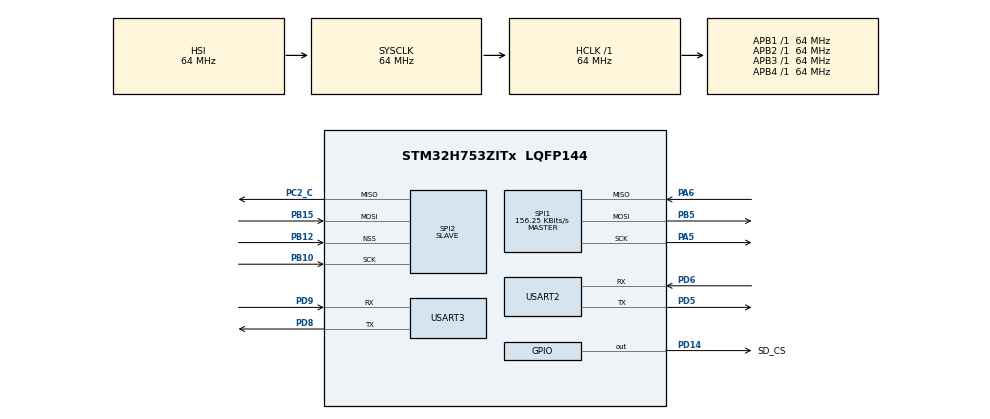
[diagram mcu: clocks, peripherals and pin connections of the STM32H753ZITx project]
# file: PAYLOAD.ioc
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CORTEX_M7.CPU_DCache=Disabled
CORTEX_M7.CPU_ICache=Disabled
CORTEX_M7.MPU_Control=__NULL
Mcu.Family=STM32H7
Mcu.Name=STM32H753ZITx
Mcu.Package=LQFP144
NVIC.PriorityGroup=NVIC_PRIORITYGROUP_4
PA5.Mode=Full_Duplex_Master
PA5.Signal=SPI1_SCK
PA6.Mode=Full_Duplex_Master
PA6.Signal=SPI1_MISO
PB10.Mode=Full_Duplex_Slave
PB10.Signal=SPI2_SCK
PB12.Mode=NSS_Signal_Hard_Input
PB12.Signal=SPI2_NSS
PB15.Mode=Full_Duplex_Slave
PB15.Signal=SPI2_MOSI
PB5.Mode=Full_Duplex_Master
PB5.Signal=SPI1_MOSI
PC2_C.Mode=Full_Duplex_Slave
PC2_C.Signal=SPI2_MISO
PD14.GPIO_Label=SD_CS
PD14.PinState=GPIO_PIN_SET
PD14.Signal=GPIO_Output
PD5.Mode=Asynchronous
PD5.Signal=USART2_TX
PD6.Mode=Asynchronous
PD6.Signal=USART2_RX
PD8.Mode=Asynchronous
PD8.Signal=USART3_TX
PD9.Mode=Asynchronous
PD9.Signal=USART3_RX
ProjectManager.HeapSize=0x200
ProjectManager.StackSize=0x400
ProjectManager.TargetToolchain=STM32CubeIDE
RCC.ADCFreq_Value=129000000
RCC.APB1Freq_Value=64000000
RCC.APB2Freq_Value=64000000
RCC.APB3Freq_Value=64000000
RCC.APB4Freq_Value=64000000
RCC.CortexFreq_Value=64000000
RCC.DIVM1=4
RCC.DIVN1=10
RCC.DIVQ1=4
RCC.HCLKFreq_Value=64000000
RCC.HSE_VALUE=8000000
RCC.PLLFRACN=0
RCC.PWR_Regulator_Voltage_Scale=PWR_REGULATOR_VOLTAGE_SCALE2
RCC.SYSCLKFreq_VALUE=64000000
RCC.USBFreq_Value=40000000
SPI1.BaudRatePrescaler=SPI_BAUDRATEPRESCALER_256
SPI1.CalculateBaudRate=156.25 KBits/s
SPI1.DataSize=SPI_DATASIZE_8BIT
SPI1.Direction=SPI_DIRECTION_2LINES
SPI1.Mode=SPI_MODE_MASTER
SPI1.NSSPMode=SPI_NSS_PULSE_DISABLE
SPI1.VirtualType=VM_MASTER
SPI2.DataSize=SPI_DATASIZE_8BIT
SPI2.Direction=SPI_DIRECTION_2LINES
SPI2.Mode=SPI_MODE_SLAVE
SPI2.NSSPolarity=SPI_NSS_POLARITY_LOW
SPI2.VirtualNSS=VM_NSSHARD
SPI2.VirtualType=VM_SLAVE
USART2.VirtualMode-Asynchronous=VM_ASYNC
USART3.VirtualMode-Asynchronous=VM_ASYNC
VP_FATFS_VS_Generic.Mode=User_defined
board=NUCLEO-H753ZI

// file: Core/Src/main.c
/* USER CODE BEGIN Header */
/**
  ******************************************************************************
  * @file           : main.c
  * @brief          : Main program body
  ******************************************************************************
  * @attention
  *
  * Copyright (c) 2026 STMicroelectronics.
  * All rights reserved.
  *
  * This software is licensed under terms that can be found in the LICENSE file
  * in the root directory of this software component.
  * If no LICENSE file comes with this software, it is provided AS-IS.
  *
  ******************************************************************************
  */
/* USER CODE END Header */
#include "main.h"
#include "fatfs.h"

/* USER CODE BEGIN Includes */
#include "sd_spi.h"
#include <string.h>
#include <stdio.h>
#include "ff.h"

/* USER CODE END Includes */

SPI_HandleTypeDef hspi1;
SPI_HandleTypeDef hspi2;

UART_HandleTypeDef huart2;
UART_HandleTypeDef huart3;

/* USER CODE BEGIN PV */
uint8_t spi_tx;
uint8_t spi_rx;
uint8_t sd_buffer[512];

FATFS image_fs;
FIL image_file;

FRESULT sd_result;
UINT bytes_written;
UINT bytes_read;

char sd_test_data[] = "STM32 SD TEST\r\n";

/* USER CODE END PV */

void SystemClock_Config(void);
static void MX_GPIO_Init(void);
static void MX_SPI1_Init(void);
static void MX_USART3_UART_Init(void);
static void MX_SPI2_Init(void);
static void MX_USART2_UART_Init(void);

/* USER CODE BEGIN 0 */
#define PACKET_SIZE 210

uint8_t spi2_rx_buffer[PACKET_SIZE];
uint16_t crc16_ccitt(const uint8_t *data, uint32_t length)
{
    uint16_t crc = 0xFFFF;

    for (uint32_t i = 0; i < length; i++)
    {
        crc ^= ((uint16_t)data[i] << 8);

        for (uint8_t j = 0; j < 8; j++)
        {
            if (crc & 0x8000)
            {
                crc = (crc << 1) ^ 0x1021;
            }
            else
            {
                crc <<= 1;
            }
        }
    }

    return crc;
}
/* USER CODE END 0 */

int main(void)
{

  /* MCU Configuration--------------------------------------------------------*/

  /* Reset of all peripherals, Initializes the Flash interface and the Systick. */
  HAL_Init();

  /* Configure the system clock */
  SystemClock_Config();

  /* Initialize all configured peripherals */
  MX_GPIO_Init();
  MX_SPI1_Init();
  MX_USART3_UART_Init();
  MX_FATFS_Init();
  MX_SPI2_Init();
  MX_USART2_UART_Init();

  /* Infinite loop */
  while (1)
  {

    /* USER CODE BEGIN 3 */
	    FRESULT fres;
	    UINT bytes_written;

	    uint8_t packet_buffer[PACKET_SIZE];

	    uint8_t transfer_ok = 1;

	    /*
	     * ------------------------------------------------------------
	     * MOUNT FILESYSTEM
	     * ------------------------------------------------------------
	     */

	    fres = f_mount(&USERFatFS, USERPath, 1);

	    if (fres != FR_OK)
	    {
	        char msg[80];

	        int len = sprintf(
	            msg,
	            "FATFS MOUNT ERROR: %d\r\n",
	            fres
	        );

	        HAL_UART_Transmit(
	            &huart3,
	            (uint8_t *)msg,
	            len,
	            HAL_MAX_DELAY
	        );

	        break;
	    }

	    HAL_UART_Transmit(
	        &huart3,
	        (uint8_t *)"FATFS MOUNT OK\r\n",
	        strlen("FATFS MOUNT OK\r\n"),
	        HAL_MAX_DELAY
	    );

	    /*
	     * ------------------------------------------------------------
	     * OPEN image.bin
	     *
	     * The file remains open for the entire transfer.
	     * Each packet payload is appended to the file.
	     * ------------------------------------------------------------
	     */

	    fres = f_open(
	        &USERFile,
	        "image.bin",
	        FA_CREATE_ALWAYS | FA_WRITE
	    );

	    if (fres != FR_OK)
	    {
	        char msg[80];

	        int len = sprintf(
	            msg,
	            "image.bin OPEN ERROR: %d\r\n",
	            fres
	        );

	        HAL_UART_Transmit(
	            &huart3,
	            (uint8_t *)msg,
	            len,
	            HAL_MAX_DELAY
	        );

	        break;
	    }

	    HAL_UART_Transmit(
	        &huart3,
	        (uint8_t *)"image.bin OPEN OK\r\n",
	        strlen("image.bin OPEN OK\r\n"),
	        HAL_MAX_DELAY
	    );

	    /*
	     * ------------------------------------------------------------
	     * TELL RPi TO START IMAGE TRANSFER
	     * ------------------------------------------------------------
	     */

	    uint8_t tx_msg[] = "SEND IMAGE\r\n";

	    HAL_UART_Transmit(
	        &huart2,
	        tx_msg,
	        sizeof(tx_msg) - 1,
	        HAL_MAX_DELAY
	    );

	    HAL_UART_Transmit(
	        &huart3,
	        (uint8_t *)"UART2 TX: SEND IMAGE\r\n",
	        strlen("UART2 TX: SEND IMAGE\r\n"),
	        HAL_MAX_DELAY
	    );

	    /*
	     * ------------------------------------------------------------
	     * RECEIVE PACKETS 0 TO 9
	     * ------------------------------------------------------------
	     */

	    for (uint32_t expected_packet_id = 0;
	         expected_packet_id < 10;
	         expected_packet_id++)
	    {
	        uint8_t ready_msg[] = "SPI READY\r\n";

	        /*
	         * --------------------------------------------------------
	         * TELL RPi THAT STM32 IS READY FOR THIS PACKET
	         * --------------------------------------------------------
	         */

	        HAL_UART_Transmit(
	            &huart2,
	            ready_msg,
	            sizeof(ready_msg) - 1,
	            HAL_MAX_DELAY
	        );

	        /*
	         * IMPORTANT:
	         *
	         * DO NOT PUT DEBUG UART TRANSMISSIONS HERE.
	         *
	         * SPI READY must be followed immediately by
	         * HAL_SPI_Receive().
	         */

	        HAL_StatusTypeDef spi_status;

	        spi_status = HAL_SPI_Receive(
	            &hspi2,
	            packet_buffer,
	            PACKET_SIZE,
	            5000
	        );

	        if (spi_status != HAL_OK)
	        {
	            uint32_t error = HAL_SPI_GetError(&hspi2);

	            char error_msg[100];

	            int len = sprintf(
	                error_msg,
	                "PACKET %lu SPI ERROR: 0x%08lX\r\n",
	                expected_packet_id,
	                error
	            );

	            HAL_UART_Transmit(
	                &huart3,
	                (uint8_t *)error_msg,
	                len,
	                HAL_MAX_DELAY
	            );

	            transfer_ok = 0;

	            break;
	        }

	        /*
	         * --------------------------------------------------------
	         * PARSE PACKET
	         * --------------------------------------------------------
	         */

	        uint16_t sync =
	            ((uint16_t)packet_buffer[0] << 8) |
	            packet_buffer[1];

	        uint32_t packet_id =
	            ((uint32_t)packet_buffer[2] << 24) |
	            ((uint32_t)packet_buffer[3] << 16) |
	            ((uint32_t)packet_buffer[4] << 8) |
	            packet_buffer[5];

	        uint16_t payload_length =
	            ((uint16_t)packet_buffer[6] << 8) |
	            packet_buffer[7];

	        uint16_t received_crc =
	            ((uint16_t)packet_buffer[8] << 8) |
	            packet_buffer[9];

	        /*
	         * --------------------------------------------------------
	         * VALIDATE PAYLOAD LENGTH BEFORE COPYING
	         *
	         * Maximum payload = 200 bytes.
	         * --------------------------------------------------------
	         */

	        if (payload_length > 200)
	        {
	            char error_msg[100];

	            int len = sprintf(
	                error_msg,
	                "PACKET %lu INVALID LENGTH: %u\r\n",
	                expected_packet_id,
	                payload_length
	            );

	            HAL_UART_Transmit(
	                &huart3,
	                (uint8_t *)error_msg,
	                len,
	                HAL_MAX_DELAY
	            );

	            transfer_ok = 0;

	            break;
	        }

	        /*
	         * --------------------------------------------------------
	         * CALCULATE CRC
	         *
	         * CRC covers:
	         *
	         *   SYNC
	         *   PACKET ID
	         *   LENGTH
	         *   PAYLOAD
	         *
	         * CRC field itself is NOT included.
	         * --------------------------------------------------------
	         */

	        uint8_t crc_buffer[208];

	        memcpy(
	            crc_buffer,
	            packet_buffer,
	            8
	        );

	        memcpy(
	            &crc_buffer[8],
	            &packet_buffer[10],
	            payload_length
	        );

	        uint16_t calculated_crc =
	            crc16_ccitt(
	                crc_buffer,
	                8 + payload_length
	            );

	        /*
	         * --------------------------------------------------------
	         * PRINT PACKET INFORMATION
	         * --------------------------------------------------------
	         */

	        char msg[200];

	        snprintf(
	            msg,
	            sizeof(msg),
	            "\r\nPACKET ID: %lu\r\n"
	            "EXPECTED ID: %lu\r\n"
	            "SYNC: 0x%04X\r\n"
	            "PAYLOAD LENGTH: %u\r\n"
	            "RECEIVED CRC: 0x%04X\r\n"
	            "CALCULATED CRC: 0x%04X\r\n",
	            packet_id,
	            expected_packet_id,
	            sync,
	            payload_length,
	            received_crc,
	            calculated_crc
	        );

	        HAL_UART_Transmit(
	            &huart3,
	            (uint8_t *)msg,
	            strlen(msg),
	            HAL_MAX_DELAY
	        );

	        /*
	         * --------------------------------------------------------
	         * VALIDATE PACKET
	         * --------------------------------------------------------
	         */

	        if (sync != 0xAA55 ||
	            packet_id != expected_packet_id ||
	            received_crc != calculated_crc)
	        {
	            char error_msg[120];

	            int len = sprintf(
	                error_msg,
	                "PACKET %lu VALIDATION FAILED\r\n",
	                expected_packet_id
	            );

	            HAL_UART_Transmit(
	                &huart3,
	                (uint8_t *)error_msg,
	                len,
	                HAL_MAX_DELAY
	            );

	            transfer_ok = 0;

	            break;
	        }

	        /*
	         * --------------------------------------------------------
	         * CRC PASSED
	         * --------------------------------------------------------
	         */

	        char crc_ok_msg[80];

	        int crc_ok_len = sprintf(
	            crc_ok_msg,
	            "PACKET %lu CRC OK\r\n",
	            expected_packet_id
	        );

	        HAL_UART_Transmit(
	            &huart3,
	            (uint8_t *)crc_ok_msg,
	            crc_ok_len,
	            HAL_MAX_DELAY
	        );

	        /*
	         * --------------------------------------------------------
	         * WRITE PAYLOAD DIRECTLY TO microSD
	         *
	         * packet_buffer contains ONLY ONE packet.
	         *
	         * The complete image is NEVER stored in STM32 RAM.
	         *
	         * Only:
	         *
	         *     packet_buffer[10 ... 10+payload_length-1]
	         *
	         * is written to image.bin.
	         * --------------------------------------------------------
	         */

	        fres = f_write(
	            &USERFile,
	            &packet_buffer[10],
	            payload_length,
	            &bytes_written
	        );

	        if (fres != FR_OK ||
	            bytes_written != payload_length)
	        {
	            char write_msg[120];

	            int len = sprintf(
	                write_msg,
	                "PACKET %lu WRITE ERROR: result=%d bytes=%u\r\n",
	                expected_packet_id,
	                fres,
	                bytes_written
	            );

	            HAL_UART_Transmit(
	                &huart3,
	                (uint8_t *)write_msg,
	                len,
	                HAL_MAX_DELAY
	            );

	            transfer_ok = 0;

	            break;
	        }

	        /*
	         * --------------------------------------------------------
	         * WRITE SUCCESS
	         * --------------------------------------------------------
	         */

	        char write_ok_msg[100];

	        int write_ok_len = sprintf(
	            write_ok_msg,
	            "PACKET %lu WRITE OK: %u BYTES\r\n",
	            expected_packet_id,
	            bytes_written
	        );

	        HAL_UART_Transmit(
	            &huart3,
	            (uint8_t *)write_ok_msg,
	            write_ok_len,
	            HAL_MAX_DELAY
	        );
	    }

	    /*
	     * ------------------------------------------------------------
	     * CLOSE image.bin
	     * ------------------------------------------------------------
	     */

	    fres = f_close(&USERFile);

	    if (fres == FR_OK)
	    {
	        HAL_UART_Transmit(
	            &huart3,
	            (uint8_t *)"image.bin CLOSE OK\r\n",
	            strlen("image.bin CLOSE OK\r\n"),
	            HAL_MAX_DELAY
	        );
	    }
	    else
	    {
	        char close_msg[80];

	        int len = sprintf(
	            close_msg,
	            "image.bin CLOSE ERROR: %d\r\n",
	            fres
	        );

	        HAL_UART_Transmit(
	            &huart3,
	            (uint8_t *)close_msg,
	            len,
	            HAL_MAX_DELAY
	        );

	        transfer_ok = 0;
	    }

	    /*
	     * ------------------------------------------------------------
	     * FINAL RESULT
	     * ------------------------------------------------------------
	     */

	    if (transfer_ok)
	    {
	        HAL_UART_Transmit(
	            &huart3,
	            (uint8_t *)"PACKETS 0-9 TEST COMPLETE\r\n",
	            strlen("PACKETS 0-9 TEST COMPLETE\r\n"),
	            HAL_MAX_DELAY
	        );
	    }
	    else
	    {
	        HAL_UART_Transmit(
	            &huart3,
	            (uint8_t *)"PACKETS 0-9 TEST FAILED\r\n",
	            strlen("PACKETS 0-9 TEST FAILED\r\n"),
	            HAL_MAX_DELAY
	        );
	    }

	    break;
  }
}
  /* USER CODE END 3 */

void SystemClock_Config(void)
{
  RCC_OscInitTypeDef RCC_OscInitStruct = {0};
  RCC_ClkInitTypeDef RCC_ClkInitStruct = {0};

  /** Supply configuration update enable
  */
  HAL_PWREx_ConfigSupply(PWR_LDO_SUPPLY);

  /** Configure the main internal regulator output voltage
  */
  __HAL_PWR_VOLTAGESCALING_CONFIG(PWR_REGULATOR_VOLTAGE_SCALE2);

  while(!__HAL_PWR_GET_FLAG(PWR_FLAG_VOSRDY)) {}

  /** Initializes the RCC Oscillators according to the specified parameters
  * in the RCC_OscInitTypeDef structure.
  */
  RCC_OscInitStruct.OscillatorType = RCC_OSCILLATORTYPE_HSI;
  RCC_OscInitStruct.HSIState = RCC_HSI_DIV1;
  RCC_OscInitStruct.HSICalibrationValue = RCC_HSICALIBRATION_DEFAULT;
  RCC_OscInitStruct.PLL.PLLState = RCC_PLL_ON;
  RCC_OscInitStruct.PLL.PLLSource = RCC_PLLSOURCE_HSI;
  RCC_OscInitStruct.PLL.PLLM = 4;
  RCC_OscInitStruct.PLL.PLLN = 10;
  RCC_OscInitStruct.PLL.PLLP = 2;
  RCC_OscInitStruct.PLL.PLLQ = 4;
  RCC_OscInitStruct.PLL.PLLR = 2;
  RCC_OscInitStruct.PLL.PLLRGE = RCC_PLL1VCIRANGE_3;
  RCC_OscInitStruct.PLL.PLLVCOSEL = RCC_PLL1VCOMEDIUM;
  RCC_OscInitStruct.PLL.PLLFRACN = 0;
  if (HAL_RCC_OscConfig(&RCC_OscInitStruct) != HAL_OK)
  {
    Error_Handler();
  }

  /** Initializes the CPU, AHB and APB buses clocks
  */
  RCC_ClkInitStruct.ClockType = RCC_CLOCKTYPE_HCLK|RCC_CLOCKTYPE_SYSCLK
                              |RCC_CLOCKTYPE_PCLK1|RCC_CLOCKTYPE_PCLK2
                              |RCC_CLOCKTYPE_D3PCLK1|RCC_CLOCKTYPE_D1PCLK1;
  RCC_ClkInitStruct.SYSCLKSource = RCC_SYSCLKSOURCE_HSI;
  RCC_ClkInitStruct.SYSCLKDivider = RCC_SYSCLK_DIV1;
  RCC_ClkInitStruct.AHBCLKDivider = RCC_HCLK_DIV1;
  RCC_ClkInitStruct.APB3CLKDivider = RCC_APB3_DIV1;
  RCC_ClkInitStruct.APB1CLKDivider = RCC_APB1_DIV1;
  RCC_ClkInitStruct.APB2CLKDivider = RCC_APB2_DIV1;
  RCC_ClkInitStruct.APB4CLKDivider = RCC_APB4_DIV1;

  if (HAL_RCC_ClockConfig(&RCC_ClkInitStruct, FLASH_LATENCY_1) != HAL_OK)
  {
    Error_Handler();
  }
}

static void MX_SPI1_Init(void)
{

  /* SPI1 parameter configuration*/
  hspi1.Instance = SPI1;
  hspi1.Init.Mode = SPI_MODE_MASTER;
  hspi1.Init.Direction = SPI_DIRECTION_2LINES;
  hspi1.Init.DataSize = SPI_DATASIZE_8BIT;
  hspi1.Init.CLKPolarity = SPI_POLARITY_LOW;
  hspi1.Init.CLKPhase = SPI_PHASE_1EDGE;
  hspi1.Init.NSS = SPI_NSS_SOFT;
  hspi1.Init.BaudRatePrescaler = SPI_BAUDRATEPRESCALER_256;
  hspi1.Init.FirstBit = SPI_FIRSTBIT_MSB;
  hspi1.Init.TIMode = SPI_TIMODE_DISABLE;
  hspi1.Init.CRCCalculation = SPI_CRCCALCULATION_DISABLE;
  hspi1.Init.CRCPolynomial = 0x0;
  hspi1.Init.NSSPMode = SPI_NSS_PULSE_DISABLE;
  hspi1.Init.NSSPolarity = SPI_NSS_POLARITY_LOW;
  hspi1.Init.FifoThreshold = SPI_FIFO_THRESHOLD_01DATA;
  hspi1.Init.TxCRCInitializationPattern = SPI_CRC_INITIALIZATION_ALL_ZERO_PATTERN;
  hspi1.Init.RxCRCInitializationPattern = SPI_CRC_INITIALIZATION_ALL_ZERO_PATTERN;
  hspi1.Init.MasterSSIdleness = SPI_MASTER_SS_IDLENESS_00CYCLE;
  hspi1.Init.MasterInterDataIdleness = SPI_MASTER_INTERDATA_IDLENESS_00CYCLE;
  hspi1.Init.MasterReceiverAutoSusp = SPI_MASTER_RX_AUTOSUSP_DISABLE;
  hspi1.Init.MasterKeepIOState = SPI_MASTER_KEEP_IO_STATE_DISABLE;
  hspi1.Init.IOSwap = SPI_IO_SWAP_DISABLE;
  if (HAL_SPI_Init(&hspi1) != HAL_OK)
  {
    Error_Handler();
  }

}

static void MX_SPI2_Init(void)
{

  /* SPI2 parameter configuration*/
  hspi2.Instance = SPI2;
  hspi2.Init.Mode = SPI_MODE_SLAVE;
  hspi2.Init.Direction = SPI_DIRECTION_2LINES;
  hspi2.Init.DataSize = SPI_DATASIZE_8BIT;
  hspi2.Init.CLKPolarity = SPI_POLARITY_LOW;
  hspi2.Init.CLKPhase = SPI_PHASE_1EDGE;
  hspi2.Init.NSS = SPI_NSS_HARD_INPUT;
  hspi2.Init.FirstBit = SPI_FIRSTBIT_MSB;
  hspi2.Init.TIMode = SPI_TIMODE_DISABLE;
  hspi2.Init.CRCCalculation = SPI_CRCCALCULATION_DISABLE;
  hspi2.Init.CRCPolynomial = 0x0;
  hspi2.Init.NSSPMode = SPI_NSS_PULSE_DISABLE;
  hspi2.Init.NSSPolarity = SPI_NSS_POLARITY_LOW;
  hspi2.Init.FifoThreshold = SPI_FIFO_THRESHOLD_01DATA;
  hspi2.Init.TxCRCInitializationPattern = SPI_CRC_INITIALIZATION_ALL_ZERO_PATTERN;
  hspi2.Init.RxCRCInitializationPattern = SPI_CRC_INITIALIZATION_ALL_ZERO_PATTERN;
  hspi2.Init.MasterSSIdleness = SPI_MASTER_SS_IDLENESS_00CYCLE;
  hspi2.Init.MasterInterDataIdleness = SPI_MASTER_INTERDATA_IDLENESS_00CYCLE;
  hspi2.Init.MasterReceiverAutoSusp = SPI_MASTER_RX_AUTOSUSP_DISABLE;
  hspi2.Init.MasterKeepIOState = SPI_MASTER_KEEP_IO_STATE_DISABLE;
  hspi2.Init.IOSwap = SPI_IO_SWAP_DISABLE;
  if (HAL_SPI_Init(&hspi2) != HAL_OK)
  {
    Error_Handler();
  }

}

static void MX_USART2_UART_Init(void)
{

  huart2.Instance = USART2;
  huart2.Init.BaudRate = 115200;
  huart2.Init.WordLength = UART_WORDLENGTH_8B;
  huart2.Init.StopBits = UART_STOPBITS_1;
  huart2.Init.Parity = UART_PARITY_NONE;
  huart2.Init.Mode = UART_MODE_TX_RX;
  huart2.Init.HwFlowCtl = UART_HWCONTROL_NONE;
  huart2.Init.OverSampling = UART_OVERSAMPLING_16;
  huart2.Init.OneBitSampling = UART_ONE_BIT_SAMPLE_DISABLE;
  huart2.Init.ClockPrescaler = UART_PRESCALER_DIV1;
  huart2.AdvancedInit.AdvFeatureInit = UART_ADVFEATURE_NO_INIT;
  if (HAL_UART_Init(&huart2) != HAL_OK)
  {
    Error_Handler();
  }
  if (HAL_UARTEx_SetTxFifoThreshold(&huart2, UART_TXFIFO_THRESHOLD_1_8) != HAL_OK)
  {
    Error_Handler();
  }
  if (HAL_UARTEx_SetRxFifoThreshold(&huart2, UART_RXFIFO_THRESHOLD_1_8) != HAL_OK)
  {
    Error_Handler();
  }
  if (HAL_UARTEx_DisableFifoMode(&huart2) != HAL_OK)
  {
    Error_Handler();
  }

}

static void MX_USART3_UART_Init(void)
{

  huart3.Instance = USART3;
  huart3.Init.BaudRate = 115200;
  huart3.Init.WordLength = UART_WORDLENGTH_8B;
  huart3.Init.StopBits = UART_STOPBITS_1;
  huart3.Init.Parity = UART_PARITY_NONE;
  huart3.Init.Mode = UART_MODE_TX_RX;
  huart3.Init.HwFlowCtl = UART_HWCONTROL_NONE;
  huart3.Init.OverSampling = UART_OVERSAMPLING_16;
  huart3.Init.OneBitSampling = UART_ONE_BIT_SAMPLE_DISABLE;
  huart3.Init.ClockPrescaler = UART_PRESCALER_DIV1;
  huart3.AdvancedInit.AdvFeatureInit = UART_ADVFEATURE_NO_INIT;
  if (HAL_UART_Init(&huart3) != HAL_OK)
  {
    Error_Handler();
  }
  if (HAL_UARTEx_SetTxFifoThreshold(&huart3, UART_TXFIFO_THRESHOLD_1_8) != HAL_OK)
  {
    Error_Handler();
  }
  if (HAL_UARTEx_SetRxFifoThreshold(&huart3, UART_RXFIFO_THRESHOLD_1_8) != HAL_OK)
  {
    Error_Handler();
  }
  if (HAL_UARTEx_DisableFifoMode(&huart3) != HAL_OK)
  {
    Error_Handler();
  }

}

static void MX_GPIO_Init(void)
{
  GPIO_InitTypeDef GPIO_InitStruct = {0};

  /* GPIO Ports Clock Enable */
  __HAL_RCC_GPIOC_CLK_ENABLE();
  __HAL_RCC_GPIOA_CLK_ENABLE();
  __HAL_RCC_GPIOB_CLK_ENABLE();
  __HAL_RCC_GPIOD_CLK_ENABLE();

  /*Configure GPIO pin Output Level */
  HAL_GPIO_WritePin(SD_CS_GPIO_Port, SD_CS_Pin, GPIO_PIN_SET);

  /*Configure GPIO pin : SD_CS_Pin */
  GPIO_InitStruct.Pin = SD_CS_Pin;
  GPIO_InitStruct.Mode = GPIO_MODE_OUTPUT_PP;
  GPIO_InitStruct.Pull = GPIO_NOPULL;
  GPIO_InitStruct.Speed = GPIO_SPEED_FREQ_LOW;
  HAL_GPIO_Init(SD_CS_GPIO_Port, &GPIO_InitStruct);

}

void Error_Handler(void)
{
  __disable_irq();
  while (1)
  {
  }
}
